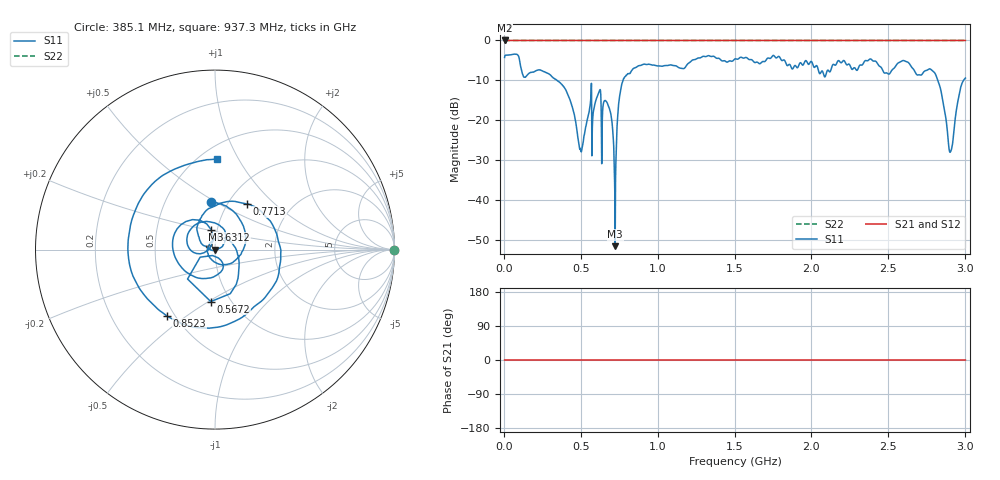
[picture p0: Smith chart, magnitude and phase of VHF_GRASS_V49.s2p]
!Keysight Technologies N9923A: A.08.09
!Date: Thursday, 02 August 2018 08:16:03
!Timezone: (GMT+08:00) Kuala Lumpur, Singapore
!Model: N9923A
!Serial: MY52412143
!GPS Latitude:
!GPS Longitude:
!GPS TimeStamp: 0001-01-01 00:00:00Z
!GPS Seconds Since Last Read: 0
!CHECKSUM:1668752217
!Correction: S11(ON U)S21()S12()S22()
!S2P File: Measurements:S11,S21,S12,S22:
# Hz S DB R 50
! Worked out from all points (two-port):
!   3000 points, 2 MHz to 3.002 GHz, reference 50 ohm
!   highest |S21| = 0.00 dB at 2 MHz (marker M1); lowest = 0.0 dB at 2 MHz (marker M2)
!   |S21| within 3 dB of the highest: start of sweep to end of sweep
!   lowest |S11| = -51.5 dB at 721.2 MHz (marker M3), VSWR 1.01, Z = 50.2 - j0.123 ohm
!   |S11| at or under -10 dB: 342.5 MHz to 772.1 MHz (429.6 MHz wide, 77.1 % of centre); 2.822 GHz to 2.99 GHz (167.3 MHz wide, 5.76 % of centre)
!   |S22| runs from 0.0 to 0.0 dB; largest |S21 - S12| = 0
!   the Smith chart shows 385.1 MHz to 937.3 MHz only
!   S11 on the Smith chart (normalised r, x): 385.1 MHz: 0.83, +0.47; 567.2 MHz: 0.81, -0.51; 631.2 MHz: 0.94, +0.21; 771.3 MHz: 1.22, +0.69; 852.3 MHz: 0.45, -0.42; 937.3 MHz: 0.60, +0.82
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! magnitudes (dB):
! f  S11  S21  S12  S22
! 2 MHz  -4.3  0.0  0.0  0.0
! 385.1 MHz  -11.5  0.0  0.0  0.0
! 502.2 MHz  -27.8  0.0  0.0  0.0
! 567.2 MHz  -10.7  0.0  0.0  0.0
! 613.2 MHz  -13.2  0.0  0.0  0.0
! 631.2 MHz  -19.0  0.0  0.0  0.0
! 684.2 MHz  -17.0  0.0  0.0  0.0
! 721.2 MHz  -51.5  0.0  0.0  0.0
! 748.2 MHz  -14.7  0.0  0.0  0.0
! 771.3 MHz  -10.2  0.0  0.0  0.0
! 852.3 MHz  -6.8  0.0  0.0  0.0
! 937.3 MHz  -6.0  0.0  0.0  0.0
! 1.002 GHz  -6.4  0.0  0.0  0.0
! 1.503 GHz  -4.6  0.0  0.0  0.0
! 2.003 GHz  -5.4  0.0  0.0  0.0
! 2.503 GHz  -8.4  0.0  0.0  0.0
! 2.598 GHz  -5.0  0.0  0.0  0.0
! 2.795 GHz  -7.8  0.0  0.0  0.0
! 2.844 GHz  -12.8  0.0  0.0  0.0
! 2.905 GHz  -27.8  0.0  0.0  0.0
! 2.963 GHz  -13.2  0.0  0.0  0.0
! 3.002 GHz  -9.4  0.0  0.0  0.0
